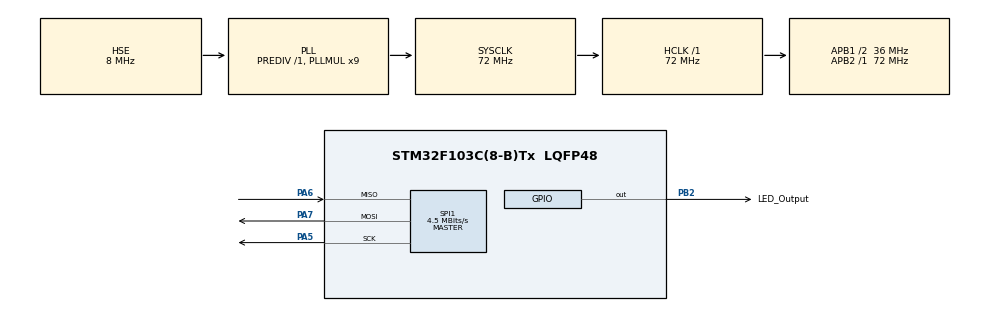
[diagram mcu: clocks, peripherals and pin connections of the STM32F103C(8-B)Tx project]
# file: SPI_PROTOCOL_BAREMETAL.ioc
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Mcu.Family=STM32F1
Mcu.Name=STM32F103C(8-B)Tx
Mcu.Package=LQFP48
NVIC.PriorityGroup=NVIC_PRIORITYGROUP_4
PA13.Mode=Serial_Wire
PA13.Signal=SYS_JTMS-SWDIO
PA14.Mode=Serial_Wire
PA14.Signal=SYS_JTCK-SWCLK
PA5.Mode=Full_Duplex_Master
PA5.Signal=SPI1_SCK
PA6.Mode=Full_Duplex_Master
PA6.Signal=SPI1_MISO
PA7.Mode=Full_Duplex_Master
PA7.Signal=SPI1_MOSI
PB2.GPIO_Label=LED_Output
PB2.Signal=GPIO_Output
PC14-OSC32_IN.Mode=LSE-External-Clock-Source
PC14-OSC32_IN.Signal=RCC_OSC32_IN
PC15-OSC32_OUT.Mode=LSE-External-Clock-Source
PC15-OSC32_OUT.Signal=RCC_OSC32_OUT
PD0-OSC_IN.Mode=HSE-External-Oscillator
PD0-OSC_IN.Signal=RCC_OSC_IN
PD1-OSC_OUT.Mode=HSE-External-Oscillator
PD1-OSC_OUT.Signal=RCC_OSC_OUT
ProjectManager.HeapSize=0x200
ProjectManager.StackSize=0x400
ProjectManager.TargetToolchain=STM32CubeIDE
RCC.AHBFreq_Value=72000000
RCC.APB1CLKDivider=RCC_HCLK_DIV2
RCC.APB1Freq_Value=36000000
RCC.APB1TimFreq_Value=72000000
RCC.APB2Freq_Value=72000000
RCC.APB2TimFreq_Value=72000000
RCC.HCLKFreq_Value=72000000
RCC.PLLMUL=RCC_PLL_MUL9
RCC.PLLSourceVirtual=RCC_PLLSOURCE_HSE
RCC.SYSCLKFreq_VALUE=72000000
RCC.SYSCLKSource=RCC_SYSCLKSOURCE_PLLCLK
RCC.USBFreq_Value=72000000
SPI1.BaudRatePrescaler=SPI_BAUDRATEPRESCALER_16
SPI1.CalculateBaudRate=4.5 MBits/s
SPI1.Direction=SPI_DIRECTION_2LINES
SPI1.Mode=SPI_MODE_MASTER
SPI1.VirtualType=VM_MASTER
board=custom

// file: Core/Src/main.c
/* USER CODE BEGIN Header */
/**
  ******************************************************************************
  * @file           : main.c
  * @brief          : Main program body
  ******************************************************************************
  * @attention
  *
  * Copyright (c) 2026 STMicroelectronics.
  * All rights reserved.
  *
  * This software is licensed under terms that can be found in the LICENSE file
  * in the root directory of this software component.
  * If no LICENSE file comes with this software, it is provided AS-IS.
  *
  ******************************************************************************
  */
/* USER CODE END Header */
#include "main.h"

/* USER CODE BEGIN Includes */
#include "spi_driver.h"
#include <stdio.h>
/* USER CODE END Includes */

SPI_HandleTypeDef hspi1;

void SystemClock_Config(void);
static void MX_GPIO_Init(void);
static void MX_SPI1_Init(void);
/* USER CODE BEGIN PFP */
void  Delay_ms(uint32_t ms)     { uint32_t s = HAL_GetTick(); while((HAL_GetTick() - s) < ms);}
/* USER CODE END PFP */

int main(void)
{

  /* USER CODE BEGIN 1 */
	char buf[96];
  /* USER CODE END 1 */

  /* MCU Configuration--------------------------------------------------------*/

  /* Reset of all peripherals, Initializes the Flash interface and the Systick. */
  HAL_Init();

  /* Configure the system clock */
  SystemClock_Config();

  /* Initialize all configured peripherals */
  MX_GPIO_Init();
  MX_SPI1_Init();
  /* USER CODE BEGIN 2 */
  SPI1_Init();
  /* USER CODE END 2 */

  /* Infinite loop */
  /* USER CODE BEGIN WHILE */
  while (1)
  {
	  uint8_t tx[] = {0xAA, 0xBB, 0xCC, 0xDD};
	  uint8_t all_pass = 1;

	  for(int i=0;i<4;i++)
	  {
		  SPI1_CS_Low();
		  uint8_t rx = SPI1_Transfer(tx[i]);
		  SPI1_CS_High();
		  if(rx == tx[i]);
		  	  all_pass=1;

		  	 /*Blink LED Once for each successfult byte*/
		  GPIOB->BSRR = (1u<<2);
		  Delay_ms(200);

		  GPIOB->BRR = (1u<<2);
		  Delay_ms(200);
	  }

	  if(all_pass)
		  Delay_ms(1000); //Pause after 4 blinks
	  else
	  {
		  /* Error indication */
		         while(1)
		         {
		             GPIOB->BSRR = (1U << 2);
		             Delay_ms(100);

		             GPIOB->BRR = (1U << 2);
		             Delay_ms(100);
		         }
	  }
    /* USER CODE END WHILE */

  }
}

void SystemClock_Config(void)
{
  RCC_OscInitTypeDef RCC_OscInitStruct = {0};
  RCC_ClkInitTypeDef RCC_ClkInitStruct = {0};

  /** Initializes the RCC Oscillators according to the specified parameters
  * in the RCC_OscInitTypeDef structure.
  */
  RCC_OscInitStruct.OscillatorType = RCC_OSCILLATORTYPE_HSE;
  RCC_OscInitStruct.HSEState = RCC_HSE_ON;
  RCC_OscInitStruct.HSEPredivValue = RCC_HSE_PREDIV_DIV1;
  RCC_OscInitStruct.HSIState = RCC_HSI_ON;
  RCC_OscInitStruct.PLL.PLLState = RCC_PLL_ON;
  RCC_OscInitStruct.PLL.PLLSource = RCC_PLLSOURCE_HSE;
  RCC_OscInitStruct.PLL.PLLMUL = RCC_PLL_MUL9;
  if (HAL_RCC_OscConfig(&RCC_OscInitStruct) != HAL_OK)
  {
    Error_Handler();
  }

  /** Initializes the CPU, AHB and APB buses clocks
  */
  RCC_ClkInitStruct.ClockType = RCC_CLOCKTYPE_HCLK|RCC_CLOCKTYPE_SYSCLK
                              |RCC_CLOCKTYPE_PCLK1|RCC_CLOCKTYPE_PCLK2;
  RCC_ClkInitStruct.SYSCLKSource = RCC_SYSCLKSOURCE_PLLCLK;
  RCC_ClkInitStruct.AHBCLKDivider = RCC_SYSCLK_DIV1;
  RCC_ClkInitStruct.APB1CLKDivider = RCC_HCLK_DIV2;
  RCC_ClkInitStruct.APB2CLKDivider = RCC_HCLK_DIV1;

  if (HAL_RCC_ClockConfig(&RCC_ClkInitStruct, FLASH_LATENCY_2) != HAL_OK)
  {
    Error_Handler();
  }
}

static void MX_SPI1_Init(void)
{

  /* SPI1 parameter configuration*/
  hspi1.Instance = SPI1;
  hspi1.Init.Mode = SPI_MODE_MASTER;
  hspi1.Init.Direction = SPI_DIRECTION_2LINES;
  hspi1.Init.DataSize = SPI_DATASIZE_8BIT;
  hspi1.Init.CLKPolarity = SPI_POLARITY_LOW;
  hspi1.Init.CLKPhase = SPI_PHASE_1EDGE;
  hspi1.Init.NSS = SPI_NSS_SOFT;
  hspi1.Init.BaudRatePrescaler = SPI_BAUDRATEPRESCALER_16;
  hspi1.Init.FirstBit = SPI_FIRSTBIT_MSB;
  hspi1.Init.TIMode = SPI_TIMODE_DISABLE;
  hspi1.Init.CRCCalculation = SPI_CRCCALCULATION_DISABLE;
  hspi1.Init.CRCPolynomial = 10;
  if (HAL_SPI_Init(&hspi1) != HAL_OK)
  {
    Error_Handler();
  }

}

static void MX_GPIO_Init(void)
{
  GPIO_InitTypeDef GPIO_InitStruct = {0};

  /* GPIO Ports Clock Enable */
  __HAL_RCC_GPIOC_CLK_ENABLE();
  __HAL_RCC_GPIOD_CLK_ENABLE();
  __HAL_RCC_GPIOA_CLK_ENABLE();
  __HAL_RCC_GPIOB_CLK_ENABLE();

  /*Configure GPIO pin Output Level */
  HAL_GPIO_WritePin(LED_Output_GPIO_Port, LED_Output_Pin, GPIO_PIN_RESET);

  /*Configure GPIO pin : LED_Output_Pin */
  GPIO_InitStruct.Pin = LED_Output_Pin;
  GPIO_InitStruct.Mode = GPIO_MODE_OUTPUT_PP;
  GPIO_InitStruct.Pull = GPIO_NOPULL;
  GPIO_InitStruct.Speed = GPIO_SPEED_FREQ_LOW;
  HAL_GPIO_Init(LED_Output_GPIO_Port, &GPIO_InitStruct);

}

void Error_Handler(void)
{
  __disable_irq();
  while (1)
  {
  }
}
